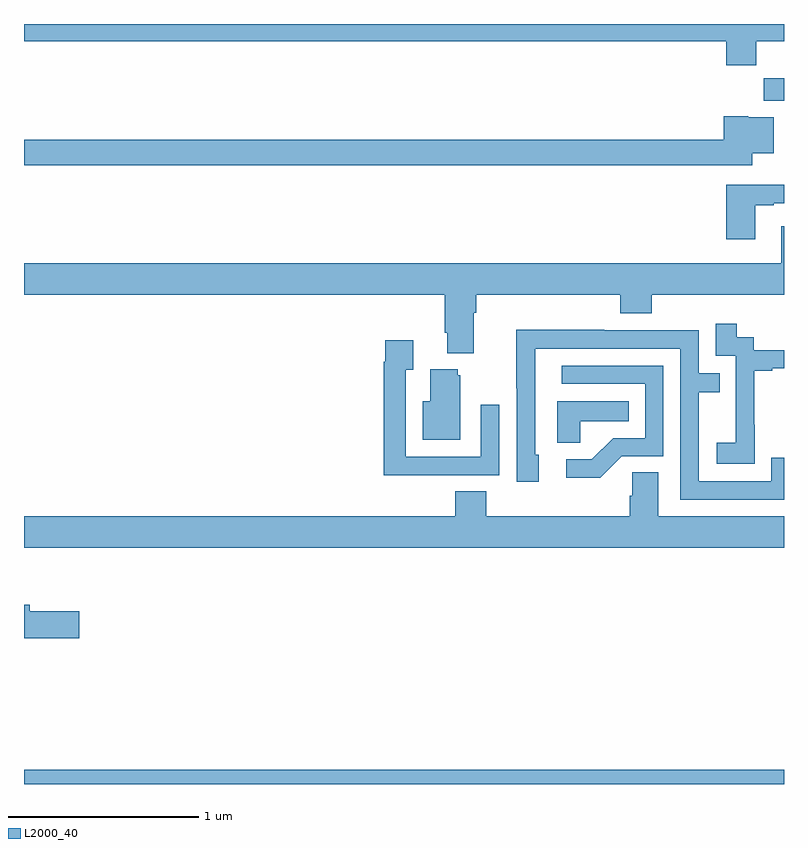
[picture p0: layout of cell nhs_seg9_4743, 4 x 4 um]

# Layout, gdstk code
import gdstk
lib = gdstk.Library(unit=1e-6, precision=1e-09)
def R(c, l, rs):  # rectangles x0, y0, x1, y1
    for r in rs: c.add(gdstk.rectangle(r[:2], r[2:], *l))
def P(c, l, *ps):  # polygons
    for p in ps: c.add(gdstk.Polygon(p, *l))
L2000_40 = (2000, 40)

nhs_seg9_4743 = lib.new_cell('nhs_seg9_4743')
R(nhs_seg9_4743, L2000_40, [(385,1204.5,389,1204.576), (388.894,1208.096,389,1208.215)])
P(nhs_seg9_4743, L2000_40, [(388.853,1208.408),(389,1208.408),(389,1208.5),(385,1208.5),(385,1208.408),(388.697,1208.408),(388.697,1208.284),(388.853,1208.284)],
  [(388.834,1207.82),(388.945,1207.82),(388.945,1208.008),(388.812,1208.008),(388.812,1208.014),(388.682,1208.014),(388.682,1207.892),(385,1207.892),(385,1207.756),(388.834,1207.756)],
  [(388.849,1207.545),(388.945,1207.545),(388.945,1207.557),(389,1207.557),(389,1207.654),(388.697,1207.654),(388.697,1207.368),(388.849,1207.368)],
  [(387.367,1206.98),(387.38,1206.98),(387.38,1207.076),(388.139,1207.076),(388.139,1206.977),(388.304,1206.977),(388.304,1207.076),(389,1207.076),(389,1207.435),(388.985,1207.435),(388.985,1207.24),(385,1207.24),(385,1207.076),(387.215,1207.076),(387.215,1206.874),(387.227,1206.874),(387.227,1206.767),(387.367,1206.767)],
  [(388.845,1206.391),(388.844,1206.391),(388.844,1206.675),(388.939,1206.675),(388.939,1206.687),(389,1206.687),(389,1206.783),(388.842,1206.783),(388.842,1206.852),(388.75,1206.852),(388.75,1206.922),(388.641,1206.922),(388.641,1206.753),(388.746,1206.753),(388.746,1206.524),(388.745,1206.524),(388.745,1206.295),(388.647,1206.295),(388.647,1206.185),(388.845,1206.185)],
  [(389,1206.216),(388.932,1206.216),(388.932,1206.093),(388.551,1206.093),(388.551,1206.562),(388.661,1206.562),(388.661,1206.663),(388.551,1206.663),(388.551,1206.888),(388.055,1206.888),(388.055,1206.89),(387.592,1206.89),(387.592,1206.583),(387.594,1206.583),(387.594,1206.09),(387.709,1206.09),(387.709,1206.234),(387.69,1206.234),(387.69,1206.792),(388.455,1206.792),(388.455,1205.997),(389,1205.997)],
  [(387.185,1206.126),(387.501,1206.126),(387.501,1206.496),(387.405,1206.496),(387.405,1206.222),(387.009,1206.222),(387.009,1206.679),(387.049,1206.679),(387.049,1206.835),(386.901,1206.835),(386.901,1206.722),(386.893,1206.722),(386.893,1206.125),(387.185,1206.125)],
  [(388.146,1206.225),(388.365,1206.225),(388.365,1206.702),(387.831,1206.702),(387.831,1206.606),(388.269,1206.606),(388.269,1206.321),(388.1,1206.321),(387.989,1206.21),(387.855,1206.21),(387.855,1206.113),(388.033,1206.113)],
  [(387.295,1206.651),(387.284,1206.651),(387.284,1206.682),(387.137,1206.682),(387.137,1206.514),(387.098,1206.514),(387.098,1206.311),(387.295,1206.311)],
  [(387.927,1206.41),(388.184,1206.41),(388.184,1206.514),(387.806,1206.514),(387.806,1206.295),(387.927,1206.295)],
  [(389,1205.908),(388.339,1205.908),(388.339,1206.14),(388.2,1206.14),(388.2,1206.017),(388.187,1206.017),(388.187,1205.908),(387.434,1205.908),(387.434,1206.041),(387.269,1206.041),(387.269,1205.908),(385,1205.908),(385,1205.744),(389,1205.744)],
  [(385.291,1205.409),(385.03,1205.409),(385.03,1205.443),(385,1205.443),(385,1205.267),(385.291,1205.267)])

lib.write_gds('nhs_seg9_4743.gds')
